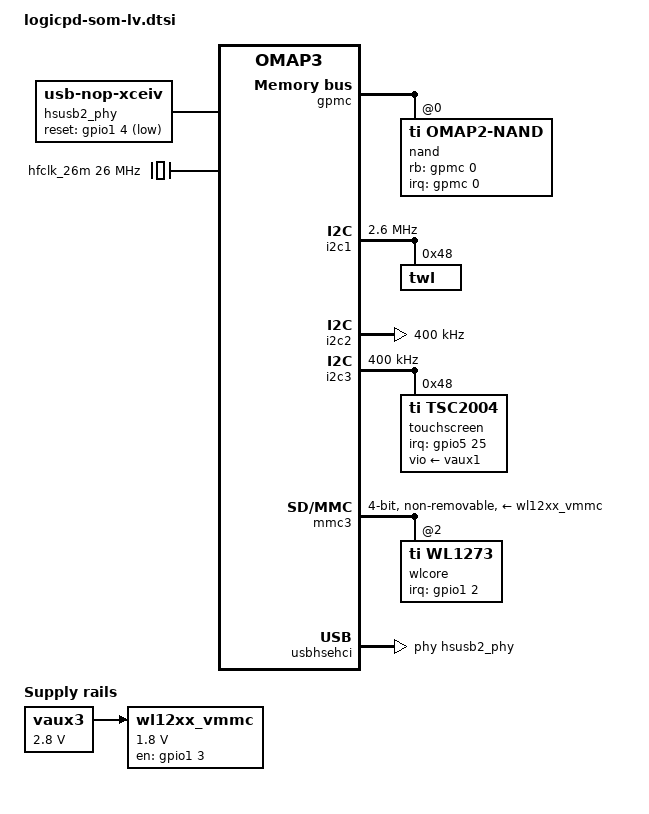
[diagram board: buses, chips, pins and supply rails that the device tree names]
// SPDX-License-Identifier: GPL-2.0-only

#include <dt-bindings/input/input.h>

/ {
	cpus {
		cpu@0 {
			cpu0-supply = <&vcc>;
		};
	};

	memory@80000000 {
		device_type = "memory";
		reg = <0x80000000 0>;
	};

	wl12xx_vmmc: wl12xx_vmmc {
		compatible = "regulator-fixed";
		regulator-name = "vwl1271";
		regulator-min-microvolt = <1800000>;
		regulator-max-microvolt = <1800000>;
		gpio = <&gpio1 3 0>;   /* gpio_3 */
		startup-delay-us = <70000>;
		enable-active-high;
		vin-supply = <&vaux3>;
	};

	/* HS USB Host PHY on PORT 1 */
	hsusb2_phy: hsusb2_phy {
		pinctrl-names = "default";
		pinctrl-0 = <&hsusb2_reset_pin>;
		compatible = "usb-nop-xceiv";
		reset-gpios = <&gpio1 4 GPIO_ACTIVE_LOW>; /* gpio_4 */
		#phy-cells = <0>;
	};

	/* fixed 26MHz oscillator */
	hfclk_26m: oscillator {
		#clock-cells = <0>;
		compatible = "fixed-clock";
		clock-frequency = <26000000>;
	};
};

&gpmc {
	ranges = <0 0 0x30000000 0x1000000>;	/* CS0: 16MB for NAND */

	nand@0,0 {
		compatible = "ti,omap2-nand";
		reg = <0 0 4>; /* CS0, offset 0, IO size 4 */
		interrupt-parent = <&gpmc>;
		interrupts = <0 IRQ_TYPE_NONE>, /* fifoevent */
			     <1 IRQ_TYPE_NONE>;	/* termcount */
		linux,mtd-name = "micron,mt29f4g16abbda3w";
		nand-bus-width = <16>;
		ti,nand-ecc-opt = "bch8";
		rb-gpios = <&gpmc 0 GPIO_ACTIVE_HIGH>; /* gpmc_wait0 */
		gpmc,sync-clk-ps = <0>;
		gpmc,cs-on-ns = <0>;
		gpmc,cs-rd-off-ns = <44>;
		gpmc,cs-wr-off-ns = <44>;
		gpmc,adv-on-ns = <6>;
		gpmc,adv-rd-off-ns = <34>;
		gpmc,adv-wr-off-ns = <44>;
		gpmc,we-off-ns = <40>;
		gpmc,oe-off-ns = <54>;
		gpmc,access-ns = <64>;
		gpmc,rd-cycle-ns = <82>;
		gpmc,wr-cycle-ns = <82>;
		gpmc,wr-access-ns = <40>;
		gpmc,wr-data-mux-bus-ns = <0>;
		gpmc,device-width = <2>;
		#address-cells = <1>;
		#size-cells = <1>;
	};
};

&i2c1 {
	pinctrl-names = "default";
	pinctrl-0 = <&i2c1_pins>;
	clock-frequency = <2600000>;

	twl: twl@48 {
		reg = <0x48>;
		interrupts = <7>; /* SYS_NIRQ cascaded to intc */
		interrupt-parent = <&intc>;
		clocks = <&hfclk_26m>;
		clock-names = "fck";
		twl_audio: audio {
			compatible = "ti,twl4030-audio";
			codec {
				ti,hs_extmute_gpio = <&gpio2 25 GPIO_ACTIVE_HIGH>;
			};
		};
	};
};

&i2c2 {
	pinctrl-names = "default";
	pinctrl-0 = <&i2c2_pins>;
	clock-frequency = <400000>;
};

&i2c3 {
	pinctrl-names = "default";
	pinctrl-0 = <&i2c3_pins>;
	clock-frequency = <400000>;

	touchscreen: tsc2004@48 {
		compatible = "ti,tsc2004";
		reg = <0x48>;
		vio-supply = <&vaux1>;
		pinctrl-names = "default";
		pinctrl-0 = <&tsc2004_pins>;
		interrupts-extended = <&gpio5 25 IRQ_TYPE_EDGE_RISING>; /* gpio 153 */

		touchscreen-fuzz-x = <4>;
		touchscreen-fuzz-y = <7>;
		touchscreen-fuzz-pressure = <2>;
		touchscreen-size-x = <4096>;
		touchscreen-size-y = <4096>;
		touchscreen-max-pressure = <2048>;

		ti,x-plate-ohms = <280>;
		ti,esd-recovery-timeout-ms = <8000>;
	};
};

&mmc3 {
	interrupts-extended = <&intc 94 &omap3_pmx_core 0x136>;
	pinctrl-0 = <&mmc3_pins &wl127x_gpio>;
	pinctrl-names = "default";
	vmmc-supply = <&wl12xx_vmmc>;
	non-removable;
	bus-width = <4>;
	cap-power-off-card;
	#address-cells = <1>;
	#size-cells = <0>;
	wlcore: wlcore@2 {
		compatible = "ti,wl1273";
		reg = <2>;
		interrupt-parent = <&gpio1>;
		interrupts = <2 IRQ_TYPE_EDGE_RISING>; /* gpio 2 */
		ref-clock-frequency = <26000000>;
	};
};

&usbhshost {
	pinctrl-names = "default";
	pinctrl-0 = <&hsusb2_pins>;
	port2-mode = "ehci-phy";
};

&usbhsehci {
	phys = <0 &hsusb2_phy>;
};

&omap3_pmx_core {

	mmc3_pins: mm3-pins {
		pinctrl-single,pins = <
			OMAP3_CORE1_IOPAD(0x2164, PIN_INPUT_PULLUP | MUX_MODE3)	/* sdmmc2_dat4.sdmmc3_dat0 */
			OMAP3_CORE1_IOPAD(0x2166, PIN_INPUT_PULLUP | MUX_MODE3)	/* sdmmc2_dat5.sdmmc3_dat1 */
			OMAP3_CORE1_IOPAD(0x2168, PIN_INPUT_PULLUP | MUX_MODE3)	/* sdmmc2_dat6.sdmmc3_dat2 */
			OMAP3_CORE1_IOPAD(0x216a, PIN_INPUT_PULLUP | MUX_MODE3)	/* sdmmc2_dat6.sdmmc3_dat3 */
			OMAP3_CORE1_IOPAD(0x21d0, PIN_INPUT_PULLUP | MUX_MODE3) /* mcspi1_cs1.sdmmc3_cmd */
			OMAP3_CORE1_IOPAD(0x21d2, PIN_INPUT_PULLUP | MUX_MODE3)	/* mcspi1_cs2.sdmmc_clk */
		>;
	};
	mcbsp2_pins: mcbsp2-pins {
		pinctrl-single,pins = <
			OMAP3_CORE1_IOPAD(0x213c, PIN_INPUT | MUX_MODE0)        /* mcbsp2_fsx */
			OMAP3_CORE1_IOPAD(0x213e, PIN_INPUT | MUX_MODE0)        /* mcbsp2_clkx */
			OMAP3_CORE1_IOPAD(0x2140, PIN_INPUT | MUX_MODE0)        /* mcbsp2_dr */
			OMAP3_CORE1_IOPAD(0x2142, PIN_OUTPUT | MUX_MODE0)       /* mcbsp2_dx */
		>;
	};
	uart2_pins: uart2-pins {
		pinctrl-single,pins = <
			OMAP3_CORE1_IOPAD(0x2174, PIN_INPUT | MUX_MODE0)	/* uart2_cts.uart2_cts */
			OMAP3_CORE1_IOPAD(0x2176, PIN_OUTPUT | MUX_MODE0)	/* uart2_rts .uart2_rts*/
			OMAP3_CORE1_IOPAD(0x2178, PIN_OUTPUT | MUX_MODE0)	/* uart2_tx.uart2_tx */
			OMAP3_CORE1_IOPAD(0x217a, PIN_INPUT | MUX_MODE0)	/* uart2_rx.uart2_rx */
			OMAP3_CORE1_IOPAD(0x2198, PIN_OUTPUT | MUX_MODE4)	/* GPIO_162,BT_EN */
		>;
	};
	mcspi1_pins: mcspi1-pins {
		pinctrl-single,pins = <
			OMAP3_CORE1_IOPAD(0x21c8, PIN_INPUT | MUX_MODE0)        /* mcspi1_clk.mcspi1_clk */
			OMAP3_CORE1_IOPAD(0x21ca, PIN_OUTPUT | MUX_MODE0)       /* mcspi1_simo.mcspi1_simo */
			OMAP3_CORE1_IOPAD(0x21cc, PIN_INPUT_PULLUP | MUX_MODE0) /* mcspi1_somi.mcspi1_somi */
			OMAP3_CORE1_IOPAD(0x21ce, PIN_OUTPUT | MUX_MODE0)       /* mcspi1_cs0.mcspi1_cs0 */
		>;
	};

	hsusb2_pins: hsusb2-pins {
		pinctrl-single,pins = <
			OMAP3_CORE1_IOPAD(0x21d4, PIN_INPUT_PULLDOWN | MUX_MODE3)       /* mcspi1_cs3.hsusb2_data2 */
			OMAP3_CORE1_IOPAD(0x21d6, PIN_INPUT_PULLDOWN | MUX_MODE3)       /* mcspi2_clk.hsusb2_data7 */
			OMAP3_CORE1_IOPAD(0x21d8, PIN_INPUT_PULLDOWN | MUX_MODE3)       /* mcspi2_simo.hsusb2_data4 */
			OMAP3_CORE1_IOPAD(0x21da, PIN_INPUT_PULLDOWN | MUX_MODE3)       /* mcspi2_somi.hsusb2_data5 */
			OMAP3_CORE1_IOPAD(0x21dc, PIN_INPUT_PULLDOWN | MUX_MODE3)       /* mcspi2_cs0.hsusb2_data6 */
			OMAP3_CORE1_IOPAD(0x21de, PIN_INPUT_PULLDOWN | MUX_MODE3)       /* mcspi2_cs1.hsusb2_data3 */
		>;
	};

	hsusb_otg_pins: hsusb-otg-pins {
		pinctrl-single,pins = <
			OMAP3_CORE1_IOPAD(0x21a2, PIN_INPUT | MUX_MODE0)	/* hsusb0_clk.hsusb0_clk */
			OMAP3_CORE1_IOPAD(0x21a4, PIN_OUTPUT | MUX_MODE0)	/* hsusb0_stp.hsusb0_stp */
			OMAP3_CORE1_IOPAD(0x21a6, PIN_INPUT | MUX_MODE0)	/* hsusb0_dir.hsusb0_dir */
			OMAP3_CORE1_IOPAD(0x21a8, PIN_INPUT | MUX_MODE0)	/* hsusb0_nxt.hsusb0_nxt */
			OMAP3_CORE1_IOPAD(0x21aa, PIN_INPUT | MUX_MODE0)	/* hsusb0_data0.hsusb0_data0 */
			OMAP3_CORE1_IOPAD(0x21ac, PIN_INPUT | MUX_MODE0)	/* hsusb0_data1.hsusb0_data1 */
			OMAP3_CORE1_IOPAD(0x21ae, PIN_INPUT | MUX_MODE0)	/* hsusb0_data2.hsusb0_data2 */
			OMAP3_CORE1_IOPAD(0x21b0, PIN_INPUT | MUX_MODE0)	/* hsusb0_data3.hsusb0_data3 */
			OMAP3_CORE1_IOPAD(0x21b2, PIN_INPUT | MUX_MODE0)	/* hsusb0_data4.hsusb0_data4 */
			OMAP3_CORE1_IOPAD(0x21b4, PIN_INPUT | MUX_MODE0)	/* hsusb0_data5.hsusb0_data5 */
			OMAP3_CORE1_IOPAD(0x21b6, PIN_INPUT | MUX_MODE0)	/* hsusb0_data6.hsusb0_data6 */
			OMAP3_CORE1_IOPAD(0x21b8, PIN_INPUT | MUX_MODE0)	/* hsusb0_data7.hsusb0_data7 */
		>;
	};

	i2c1_pins: i2c1-pins {
		pinctrl-single,pins = <
			OMAP3_CORE1_IOPAD(0x21ba, PIN_INPUT | MUX_MODE0)        /* i2c1_scl.i2c1_scl */
			OMAP3_CORE1_IOPAD(0x21bc, PIN_INPUT | MUX_MODE0)        /* i2c1_sda.i2c1_sda */
			OMAP3_CORE1_IOPAD(0x20ba, PIN_OUTPUT | MUX_MODE4)        /* gpmc_ncs6.gpio_57 */
		>;
	};

	i2c2_pins: i2c2-pins {
		pinctrl-single,pins = <
			OMAP3_CORE1_IOPAD(0x21be, PIN_INPUT | MUX_MODE0)	/* i2c2_scl */
			OMAP3_CORE1_IOPAD(0x21c0, PIN_INPUT | MUX_MODE0)	/* i2c2_sda */
		>;
	};

	i2c3_pins: i2c3-pins {
		pinctrl-single,pins = <
			OMAP3_CORE1_IOPAD(0x21c2, PIN_INPUT | MUX_MODE0)	/* i2c3_scl */
			OMAP3_CORE1_IOPAD(0x21c4, PIN_INPUT | MUX_MODE0)	/* i2c3_sda */
		>;
	};

	tsc2004_pins: tsc2004-pins {
		pinctrl-single,pins = <
			OMAP3_CORE1_IOPAD(0x2186, PIN_INPUT | MUX_MODE4)	/* mcbsp4_dr.gpio_153 */
		>;
	};
};

&omap3_pmx_wkup {

	hsusb2_reset_pin: hsusb1-reset-pins {
		pinctrl-single,pins = <
			OMAP3_WKUP_IOPAD(0x2a0e, PIN_OUTPUT | MUX_MODE4)	/* sys_boot2.gpio_4 */
		>;
	};
	wl127x_gpio: wl127x-gpio-pins {
		pinctrl-single,pins = <
			OMAP3_WKUP_IOPAD(0x2a0a, PIN_INPUT | MUX_MODE4)		/* sys_boot0.gpio_2 */
			OMAP3_WKUP_IOPAD(0x2a0c, PIN_OUTPUT | MUX_MODE4)	/* sys_boot1.gpio_3 */
		>;
	};
};

&uart2 {
	interrupts-extended = <&intc 73 &omap3_pmx_core OMAP3_UART2_RX>;
	pinctrl-names = "default";
	pinctrl-0 = <&uart2_pins>;
};

&mcspi1 {
	pinctrl-names = "default";
	pinctrl-0 = <&mcspi1_pins>;
};

#include "twl4030.dtsi"
#include "twl4030_omap3.dtsi"

&vaux3 {
	regulator-min-microvolt = <2800000>;
	regulator-max-microvolt = <2800000>;
};

&twl {
	twl_power: power {
		compatible = "ti,twl4030-power-idle-osc-off", "ti,twl4030-power-idle";
		ti,use_poweroff;
	};
};

&twl_gpio {
	ti,use-leds;
};
